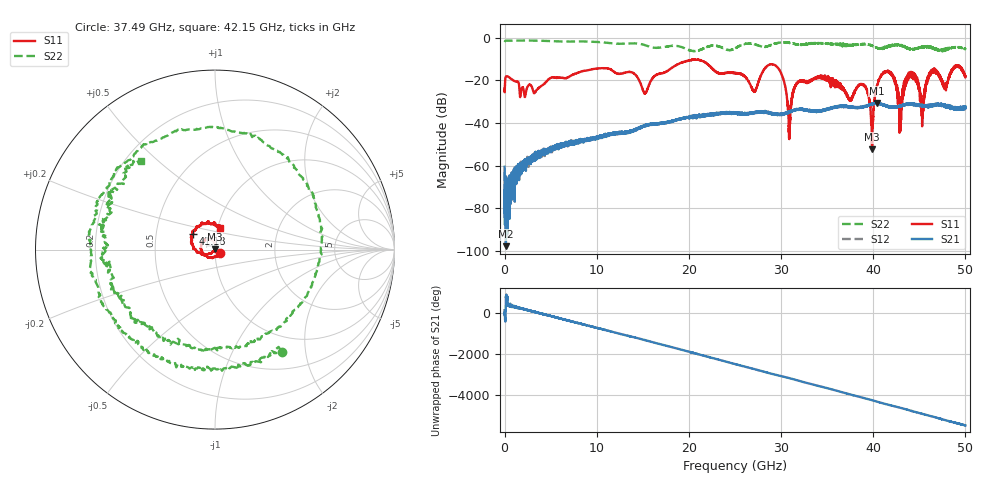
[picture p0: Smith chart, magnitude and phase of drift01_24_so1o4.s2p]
!Created with skrf (http://scikit-rf.org).
# Hz S RI R 50.0
!freq ReS11 ImS11 ReS21 ImS21 ReS12 ImS12 ReS22 ImS22
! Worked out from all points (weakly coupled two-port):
!   10001 points, 300 kHz to 50 GHz, reference 50 ohm
!   highest |S21| = -30.60 dB at 40.37 GHz (marker M1); lowest = -97.7 dB at 140.3 MHz (marker M2)
!   lowest |S11| = -52.3 dB at 39.87 GHz (marker M3), VSWR 1.00, Z = 49.8 + j0.0562 ohm
!   |S11| at or under -10 dB: start of sweep to end of sweep
!   |S22| runs from -6.5 to -1.4 dB; largest |S21 - S12| = 0.0034
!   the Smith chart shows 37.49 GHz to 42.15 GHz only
!   S11 on the Smith chart (normalised r, x): 37.49 GHz: 1.06, -0.04; 41.18 GHz: 0.77, +0.14; 42.15 GHz: 1.03, +0.25
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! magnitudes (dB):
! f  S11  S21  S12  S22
! 300 kHz  -24.0  -60.6  -63.0  -2.1
! 140.3 MHz  -18.3  -97.7  -77.2  -1.5
! 8.335 GHz  -15.9  -48.3  -48.1  -1.8
! 16.67 GHz  -17.1  -40.4  -40.3  -4.8
! 25 GHz  -16.6  -35.5  -35.5  -5.1
! 27.1 GHz  -25.3  -35.0  -35.2  -3.2
! 29.43 GHz  -13.2  -36.1  -36.2  -2.8
! 30.91 GHz  -46.1  -35.0  -34.8  -2.5
! 31.66 GHz  -21.8  -33.9  -33.8  -3.2
! 33.34 GHz  -19.9  -34.3  -34.3  -2.7
! 37.49 GHz  -29.1  -33.0  -32.6  -3.4
! 38.95 GHz  -22.1  -32.5  -32.4  -3.1
! 39.87 GHz  -52.3  -31.3  -31.2  -3.8
! 40.37 GHz  -23.3  -30.6  -30.9  -4.8
! 41.18 GHz  -16.4  -31.8  -31.6  -4.9
! 41.67 GHz  -16.2  -32.3  -32.3  -4.3
! 42.15 GHz  -18.2  -32.5  -32.6  -3.9
! 42.92 GHz  -33.7  -32.2  -31.9  -3.6
! 43.97 GHz  -17.3  -31.0  -31.2  -5.5
! 45.31 GHz  -41.6  -31.7  -32.0  -4.4
! 46.42 GHz  -15.3  -32.0  -31.6  -4.7
! 50 GHz  -18.4  -32.2  -33.1  -5.4
